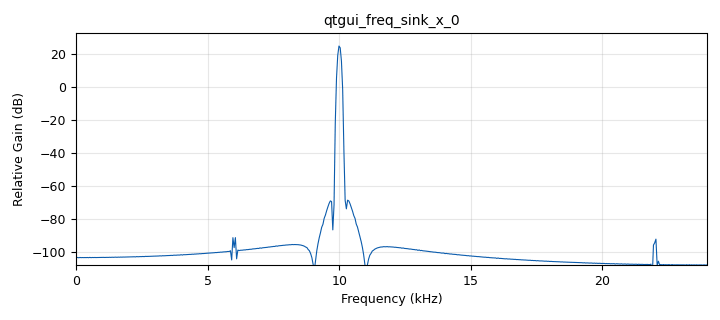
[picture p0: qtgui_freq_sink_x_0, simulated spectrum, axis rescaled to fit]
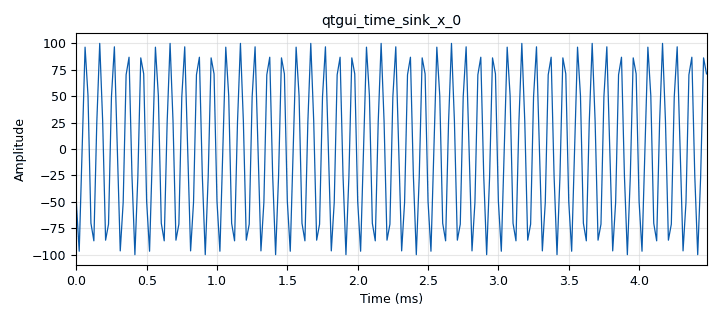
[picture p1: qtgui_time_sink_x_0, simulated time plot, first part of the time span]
<?xml version='1.0' encoding='utf-8'?>
<?grc format='1' created='3.7.11'?>
<flow_graph>
<block>
<key>options</key>
<param><key>id</key><value>top_block</value></param>
<param><key>category</key><value>Custom</value></param>
<param><key>generate_options</key><value>qt_gui</value></param>
</block>
<block>
<key>variable_qtgui_range</key>
<param><key>id</key><value>carrier_frq</value></param>
<param><key>value</key><value>10000</value></param>
<param><key>orient</key><value>Qt.Horizontal</value></param>
<param><key>start</key><value>0</value></param>
<param><key>step</key><value>10</value></param>
<param><key>stop</key><value>samp_rate/2</value></param>
<param><key>widget</key><value>slider</value></param>
</block>
<block>
<key>variable</key>
<param><key>id</key><value>samp_rate</value></param>
<param><key>value</key><value>48000</value></param>
</block>
<block>
<key>variable_qtgui_range</key>
<param><key>id</key><value>signal_frq</value></param>
<param><key>value</key><value>300</value></param>
<param><key>orient</key><value>Qt.Horizontal</value></param>
<param><key>start</key><value>0</value></param>
<param><key>step</key><value>10</value></param>
<param><key>stop</key><value>3000</value></param>
<param><key>widget</key><value>slider</value></param>
</block>
<block>
<key>analog_sig_source_x</key>
<param><key>id</key><value>analog_sig_source_x_0</value></param>
<param><key>amp</key><value>1</value></param>
<param><key>freq</key><value>carrier_frq</value></param>
<param><key>offset</key><value>0</value></param>
<param><key>type</key><value>float</value></param>
<param><key>samp_rate</key><value>samp_rate</value></param>
<param><key>waveform</key><value>analog.GR_COS_WAVE</value></param>
</block>
<block>
<key>analog_sig_source_x</key>
<param><key>id</key><value>analog_sig_source_x_1</value></param>
<param><key>amp</key><value>1</value></param>
<param><key>freq</key><value>signal_frq</value></param>
<param><key>offset</key><value>0</value></param>
<param><key>type</key><value>float</value></param>
<param><key>samp_rate</key><value>samp_rate</value></param>
<param><key>waveform</key><value>analog.GR_COS_WAVE</value></param>
</block>
<block>
<key>blocks_multiply_xx</key>
<param><key>id</key><value>blocks_multiply_xx_0</value></param>
<param><key>type</key><value>float</value></param>
</block>
<block>
<key>blocks_vco_f</key>
<param><key>id</key><value>blocks_vco_f_0</value></param>
<param><key>amplitude</key><value>100</value></param>
<param><key>samp_rate</key><value>samp_rate</value></param>
<param><key>sensitivity</key><value>1</value></param>
</block>
<block>
<key>qtgui_freq_sink_x</key>
<param><key>id</key><value>qtgui_freq_sink_x_0</value></param>
<param><key>bw</key><value>samp_rate</value></param>
<param><key>fc</key><value>0</value></param>
<param><key>fftsize</key><value>1024</value></param>
<param><key>showports</key><value>True</value></param>
<param><key>freqhalf</key><value>False</value></param>
<param><key>type</key><value>float</value></param>
<param><key>wintype</key><value>firdes.WIN_BLACKMAN_hARRIS</value></param>
</block>
<block>
<key>qtgui_time_sink_x</key>
<param><key>id</key><value>qtgui_time_sink_x_0</value></param>
<param><key>color1</key><value>"blue"</value></param>
<param><key>label1</key><value></value></param>
<param><key>size</key><value>1024</value></param>
<param><key>srate</key><value>samp_rate</value></param>
<param><key>type</key><value>float</value></param>
<param><key>ymax</key><value>110</value></param>
<param><key>ymin</key><value>-110</value></param>
</block>
<connection><source_block_id>analog_sig_source_x_0</source_block_id><sink_block_id>blocks_multiply_xx_0</sink_block_id><source_key>0</source_key><sink_key>1</sink_key></connection>
<connection><source_block_id>analog_sig_source_x_1</source_block_id><sink_block_id>blocks_vco_f_0</sink_block_id><source_key>0</source_key><sink_key>0</sink_key></connection>
<connection><source_block_id>blocks_multiply_xx_0</source_block_id><sink_block_id>qtgui_freq_sink_x_0</sink_block_id><source_key>0</source_key><sink_key>0</sink_key></connection>
<connection><source_block_id>blocks_multiply_xx_0</source_block_id><sink_block_id>qtgui_time_sink_x_0</sink_block_id><source_key>0</source_key><sink_key>0</sink_key></connection>
<connection><source_block_id>blocks_vco_f_0</source_block_id><sink_block_id>blocks_multiply_xx_0</sink_block_id><source_key>0</source_key><sink_key>0</sink_key></connection>
</flow_graph>
